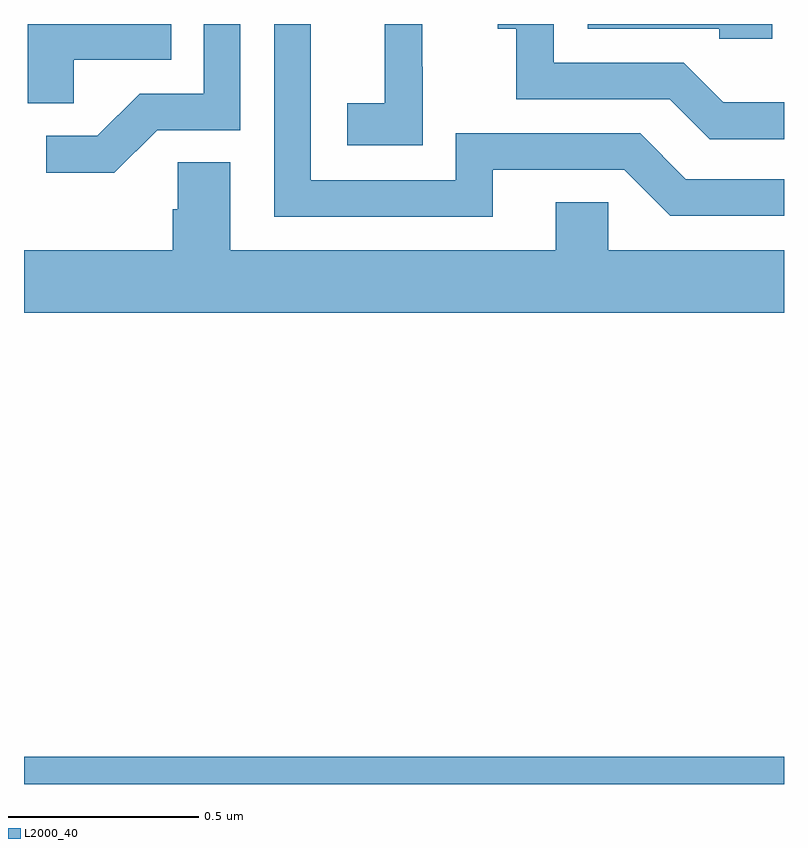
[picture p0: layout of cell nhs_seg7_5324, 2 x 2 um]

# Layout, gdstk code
import gdstk
lib = gdstk.Library(unit=1e-6, precision=1e-09)
def R(c, l, rs):  # rectangles x0, y0, x1, y1
    for r in rs: c.add(gdstk.rectangle(r[:2], r[2:], *l))
def P(c, l, *ps):  # polygons
    for p in ps: c.add(gdstk.Polygon(p, *l))
L2000_40 = (2000, 40)

nhs_seg7_5324 = lib.new_cell('nhs_seg7_5324')
R(nhs_seg7_5324, L2000_40, [(184,1042,186,1042.072)])
P(nhs_seg7_5324, L2000_40, [(184.131,1043.906),(184.388,1043.906),(184.388,1044),(184.01,1044),(184.01,1043.791),(184.131,1043.791)],
  [(184.35,1043.721),(184.569,1043.721),(184.569,1044),(184.473,1044),(184.473,1043.817),(184.304,1043.817),(184.193,1043.706),(184.059,1043.706),(184.059,1043.609),(184.237,1043.609)],
  [(186,1043.794),(185.84,1043.794),(185.736,1043.898),(185.394,1043.898),(185.394,1044),(185.247,1044),(185.247,1043.987),(185.296,1043.987),(185.296,1043.802),(185.699,1043.802),(185.804,1043.697),(186,1043.697)],
  [(185.233,1043.616),(185.58,1043.616),(185.7,1043.496),(186,1043.496),(186,1043.592),(185.742,1043.592),(185.622,1043.712),(185.136,1043.712),(185.136,1043.589),(184.755,1043.589),(184.755,1044),(184.659,1044),(184.659,1043.493),(185.233,1043.493)],
  [(185.049,1043.887),(185.048,1043.887),(185.048,1044),(184.949,1044),(184.949,1043.791),(184.851,1043.791),(184.851,1043.681),(185.049,1043.681)],
  [(185.969,1044),(185.484,1044),(185.484,1043.988),(185.829,1043.988),(185.829,1043.961),(185.969,1043.961)],
  [(186,1043.404),(185.538,1043.404),(185.538,1043.531),(185.399,1043.531),(185.399,1043.404),(184.543,1043.404),(184.543,1043.636),(184.404,1043.636),(184.404,1043.513),(184.391,1043.513),(184.391,1043.404),(184,1043.404),(184,1043.24),(186,1043.24)])

lib.write_gds('nhs_seg7_5324.gds')
